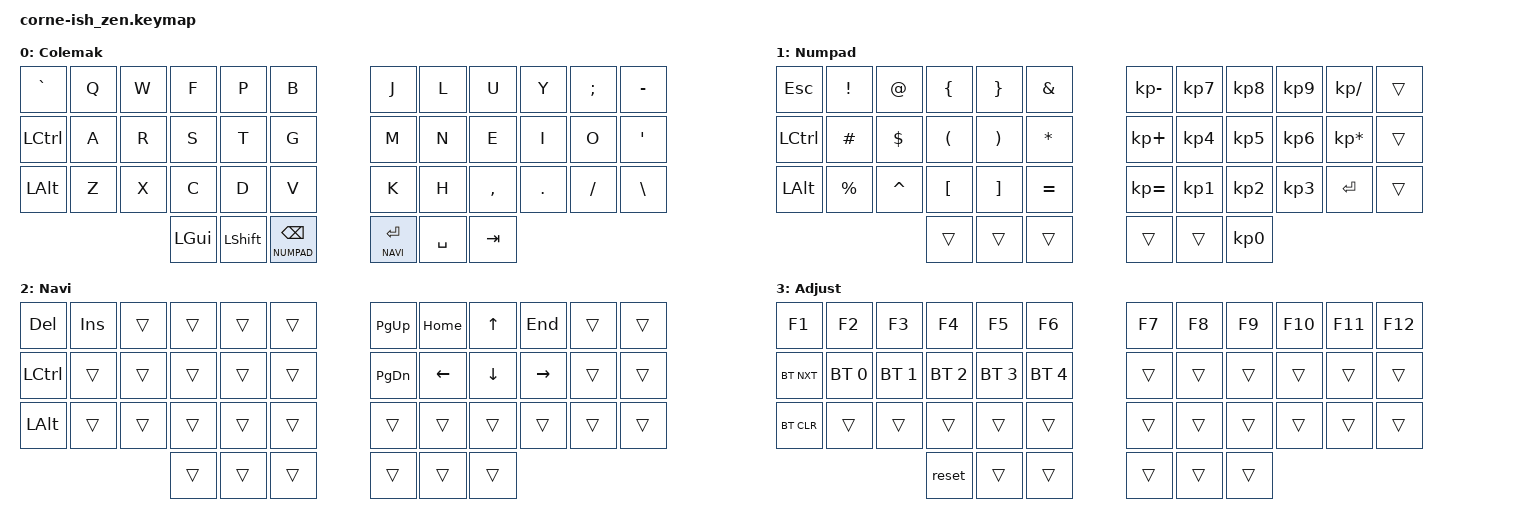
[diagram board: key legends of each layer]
/*
*
* Copyright (c) 2021 Darryl deHaan
* SPDX-License-Identifier: MIT
*
*/

#include <behaviors.dtsi>

#include <dt-bindings/zmk/keys.h>
#include <dt-bindings/zmk/bt.h>

#define COLEMAK 0
#define NUMPAD 1
#define NAVI 2
#define ADJUST 3

//  LAYER TEMPLATE
//                navi_layer {
//                        label = "Navi";
// -----------------------------------------------------------------------------------------
// |  |  |  |  |  |  |     |  |  |  |  |  |  |
// |  |  |  |  |  |  |     |  |  |  |  |  |  |
// |  |  |  |  |  |  |     |  |  |  |  |  |  |
//          |  |  |  |     |  |  |  |
//
//                        bindings = <
//   &kp &kp &kp &kp &kp &kp                &kp &kp &kp &kp &kp &kp
//   &kp &kp &kp &kp &kp &kp                &kp &kp &kp &kp &kp &kp
//   &kp &kp &kp &kp &kp &kp                &kp &kp &kp &kp &kp &kp
//               &kp &kp &kp                &kp &kp &kp
//                        >;
//                };



/ {
        conditional_layers {
            compatible = "zmk,conditional-layers";
            tri_layer {
                if-layers = <1 2>;
                then-layer = <3>;
            };
        };
        keymap {
                compatible = "zmk,keymap";

                default_layer {
                        label = "Colemak";
// -----------------------------------------------------------------------------------------
// |  `   |  Q  |  W  |  F  |  P  |  B  |                |  J  |  L  |  U  |  Y  |  ;: | -_ |
// | CTRL |  A  |  R  |  S  |  T  |  G  |                |  M  |  N  |  E  |  I  |  O  | '" |
// | LALT |  Z  |  X  |  C  |  D  |  V  |                |  K  |  H  |  ,< |  .> |  /? | |\ |
//                    | GUI | SHFT| BSPC|                | ENT | SPC | TAB |

                        bindings = <
   &kp GRAVE &kp Q &kp W &kp F &kp P &kp B                 &kp J &kp L  &kp U     &kp Y   &kp SEMI &kp MINUS
   &kp LCTL  &kp A &kp R &kp S &kp T &kp G                 &kp M &kp N  &kp E     &kp I   &kp O    &kp APOS
   &kp LALT  &kp Z &kp X &kp C &kp D &kp V                 &kp K &kp H  &kp COMMA &kp DOT &kp FSLH &kp BSLH
                   &kp LGUI &kp LSHFT &lt NUMPAD BSPC      &lt NAVI RET &kp SPC &kp TAB
                        >;
                };

                numpad_layer {
                        label = "Numpad";
// -----------------------------------------------------------------------------------------
// | ESC  |  !  |  @  |  {  |  }  |  &  |   |  -  |  7  |  8  |  9  |  /  | - |
// | CTRL |  #  |  $  |  (  |  )  |  *  |   |  +  |  4  |  5  |  6  |  *  | ' |
// | SHFT |  %  |  ^  |  [  |  ]  |  =  |   |  1  |  1  |  2  |  3  | ENT | \ |
//                    | GUI | SHFT| BSPC|    | ENT | SPC | TAB |

                        bindings = <
   &kp ESC   &kp EXCL  &kp AT    &kp LBRC &kp RBRC &kp AMPS        &kp KP_MINUS &kp KP_N7 &kp KP_N8 &kp KP_N9 &kp KP_DIVIDE   &trans
   &kp LCTL  &kp HASH  &kp DLLR  &kp LPAR &kp RPAR &kp ASTRK       &kp KP_PLUS  &kp KP_N4 &kp KP_N5 &kp KP_N6 &kp KP_MULTIPLY &trans
   &kp LALT  &kp PRCNT &kp CARET &kp LBKT &kp RBKT &kp EQUAL       &kp KP_EQUAL &kp KP_N1 &kp KP_N2 &kp KP_N3 &kp RETURN      &trans
                                 &trans   &trans   &trans          &trans       &trans    &kp KP_N0
                        >;
                };

                navi_layer {
                        label = "Navi";
// -----------------------------------------------------------------------------------------
// | DEL | INS |  |  |  |  |     | PgUp | Home |  Up  |  End  |  |  |
// |     |     |  |  |  |  |     | PgDn | Left | Down | Right |  |  |
// |     |     |  |  |  |  |     |  |  |  |  |  |  |
//                |  |  |  |     |  |  |  |

                        bindings = <
   &kp DEL  &kp INS &trans &trans &trans &trans                &kp PG_UP &kp HOME &kp UP   &kp END  &trans &trans
   &kp LCTL &trans  &trans &trans &trans &trans                &kp PG_DN &kp LEFT &kp DOWN &kp RIGHT &trans &trans
   &kp LALT &trans  &trans &trans &trans &trans                &trans &trans &trans &trans &trans &trans
                           &trans &trans &trans                &trans &trans &trans
                        >;
                };

                adjust_layer {
                        label = "Adjust";
// -----------------------------------------------------------------------------------------
// |   |  1  |  2  |  3  |  4  |  5  |   |  6  |  7  |  8  |  9  |  0  | BKSP |
// | BTCLR| BT1 | BT2 | BT3 | BT4 | BT5 |   |  |  |  |  |     |      |
// |  |     |     |     |     |     |   |     |     |     |     |     |      |

                        bindings = <
   &kp F1 &kp F2 &kp F3 &kp F4 &kp F5 &kp F6                                    &kp F7 &kp F8 &kp F9 &kp F10 &kp F11 &kp F12
   &bt BT_NXT &bt BT_SEL 0 &bt BT_SEL 1 &bt BT_SEL 2 &bt BT_SEL 3 &bt BT_SEL 4  &trans &trans &trans &trans &trans &trans
   &bt BT_CLR &trans &trans &trans &trans &trans                                &trans &trans &trans &trans &trans &trans
                        &reset &trans &trans                                    &trans &trans &trans
                        >;
                };
        };
};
